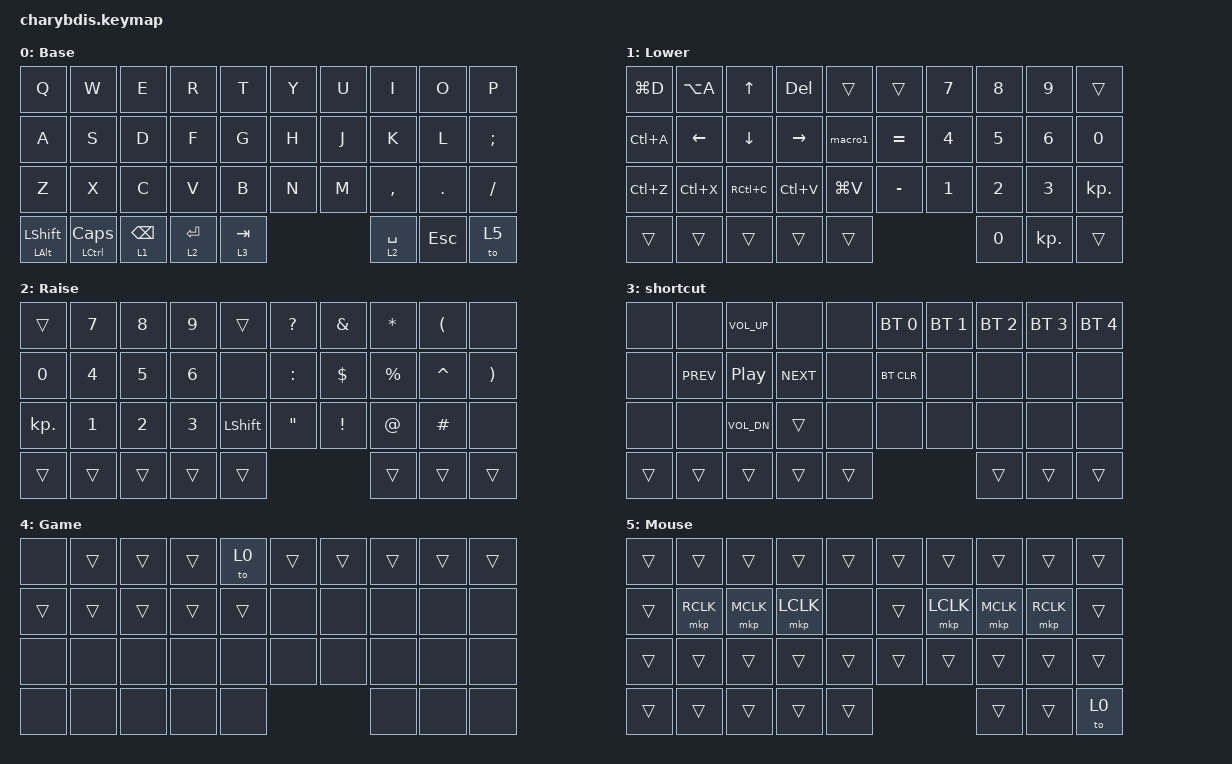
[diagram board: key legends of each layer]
#include <behaviors.dtsi>
#include <dt-bindings/zmk/bt.h>
#include <dt-bindings/zmk/keys.h>
#include <dt-bindings/zmk/mouse.h>

&lt {
    tapping-term-ms = <240>;
    flavor = "balanced";
    quick-tap-ms = <150>;
};

&mt {
    global-quick-tap;
    flavor = "tap-preferred";
    tapping-term-ms = <200>;
};

&sk {
    release-after-ms = <2000>;
    quick-release;
};

/ {
    combos {
        compatible = "zmk,combos";

        combo_esc {
            timeout-ms = <50>;
            key-positions = <0 1>;
            bindings = <&kp ESC>;
        };

        left_bkt {
            bindings = <&kp LEFT_BRACKET>;
            key-positions = <4 5>;
            timeout-ms = <50>;
        };

        right_bkt {
            bindings = <&kp RIGHT_BRACKET>;
            key-positions = <6 7>;
            timeout-ms = <50>;
        };

        left_par {
            bindings = <&kp LEFT_PARENTHESIS>;
            key-positions = <16 17>;
            timeout-ms = <50>;
        };

        right_par {
            bindings = <&kp RIGHT_PARENTHESIS>;
            key-positions = <18 19>;
            timeout-ms = <50>;
        };

        bac {
            bindings = <&kp BACKSLASH>;
            key-positions = <5 6>;
            timeout-ms = <50>;
        };

        pipe {
            bindings = <&kp PIPE>;
            key-positions = <17 18>;
            timeout-ms = <50>;
        };
    };

    behaviors {
        hm: homerow_mods {
            compatible = "zmk,behavior-hold-tap";
            label = "HOMEROW_MODS";
            bindings = <&kp>, <&kp>;

            #binding-cells = <2>;
            tapping-term-ms = <200>;
            quick-tap-ms = <180>;
            flavor = "tap-preferred";
        };

        ltq: ltq {
            compatible = "zmk,behavior-hold-tap";
            label = "LTQ";
            bindings = <&mo>, <&kp>;

            #binding-cells = <2>;
            tapping-term-ms = <200>;
            quick-tap-ms = <180>;
        };

        as: auto_shift {
            compatible = "zmk,behavior-hold-tap";
            label = "AUTO_SHIFT";
            bindings = <&kp>, <&kp>;

            #binding-cells = <2>;
            tapping-term-ms = <135>;
            quick-tap-ms = <0>;
        };
    };

    macros {
        macro1: new_macro {
            compatible = "zmk,behavior-macro";
            #binding-cells = <0>;
            bindings = <&kp RIGHT &kp ENTER>;
            label = "NEW_MACRO";
        };
    };

    keymap {
        compatible = "zmk,keymap";

        Base {
            label = "Base";
            bindings = <
&kp Q                    &kp W           &kp E        &kp R         &kp T      &kp Y  &kp U  &kp I         &kp O    &kp P
&kp A                    &kp S           &kp D        &kp F         &kp G      &kp H  &kp J  &kp K         &kp L    &kp SEMI
&kp Z                    &kp X           &kp C        &kp V         &kp B      &kp N  &kp M  &kp COMMA     &kp DOT  &kp FSLH
&mt LEFT_ALT LEFT_SHIFT  &mt LCTRL CAPS  &ltq 1 BSPC  &ltq 2 ENTER  &lt 3 TAB                &ltq 2 SPACE  &kp ESC  &to 5
            >;
        };

        Lower {
            label = "Lower";
            bindings = <
&kp LG(D)  &kp LA(A)  &kp UP     &kp DELETE  &trans     &trans     &kp N7  &kp N8  &kp N9      &trans
&kp LC(A)  &kp LEFT   &kp DOWN   &kp RIGHT   &macro1    &kp EQUAL  &kp N4  &kp N5  &kp N6      &kp N0
&kp LC(Z)  &kp LC(X)  &kp RC(C)  &kp LC(V)   &kp LG(V)  &kp MINUS  &kp N1  &kp N2  &kp N3      &kp KP_DOT
&trans     &trans     &trans     &trans      &trans                        &kp N0  &kp KP_DOT  &trans
            >;
        };

        Raise {
            label = "Raise";
            bindings = <
&trans      &kp N7  &kp N8  &kp N9  &trans          &kp QUESTION       &kp AMPS  &kp ASTERISK  &kp LPAR   &none
&kp N0      &kp N4  &kp N5  &kp N6  &none           &kp COLON          &kp DLLR  &kp PRCNT     &kp CARET  &kp RPAR
&kp KP_DOT  &kp N1  &kp N2  &kp N3  &kp LEFT_SHIFT  &kp DOUBLE_QUOTES  &kp EXCL  &kp AT        &kp HASH   &none
&trans      &trans  &trans  &trans  &trans                                       &trans        &trans     &trans
            >;
        };

        Shortcut {
            label = "shortcut";
            bindings = <
&none   &none       &kp C_VOL_UP  &none       &none   &bt BT_SEL 0  &bt BT_SEL 1  &bt BT_SEL 2  &bt BT_SEL 3  &bt BT_SEL 4
&none   &kp C_PREV  &kp C_PP      &kp C_NEXT  &none   &bt BT_CLR    &none         &none         &none         &none
&none   &none       &kp C_VOL_DN  &trans      &none   &none         &none         &none         &none         &none
&trans  &trans      &trans        &trans      &trans                              &trans        &trans        &trans
            >;
        };

        Game {
            label = "Game";
            bindings = <
&none   &trans  &trans  &trans  &to 0   &trans  &trans  &trans  &trans  &trans
&trans  &trans  &trans  &trans  &trans  &none   &none   &none   &none   &none
&none   &none   &none   &none   &none   &none   &none   &none   &none   &none
&none   &none   &none   &none   &none                   &none   &none   &none
            >;
        };

        Mouse {
            bindings = <
&trans  &trans     &trans     &trans     &trans  &trans  &trans     &trans     &trans     &trans
&trans  &mkp RCLK  &mkp MCLK  &mkp LCLK  &none   &trans  &mkp LCLK  &mkp MCLK  &mkp RCLK  &trans
&trans  &trans     &trans     &trans     &trans  &trans  &trans     &trans     &trans     &trans
&trans  &trans     &trans     &trans     &trans                     &trans     &trans     &to 0
            >;
        };
    };
};
